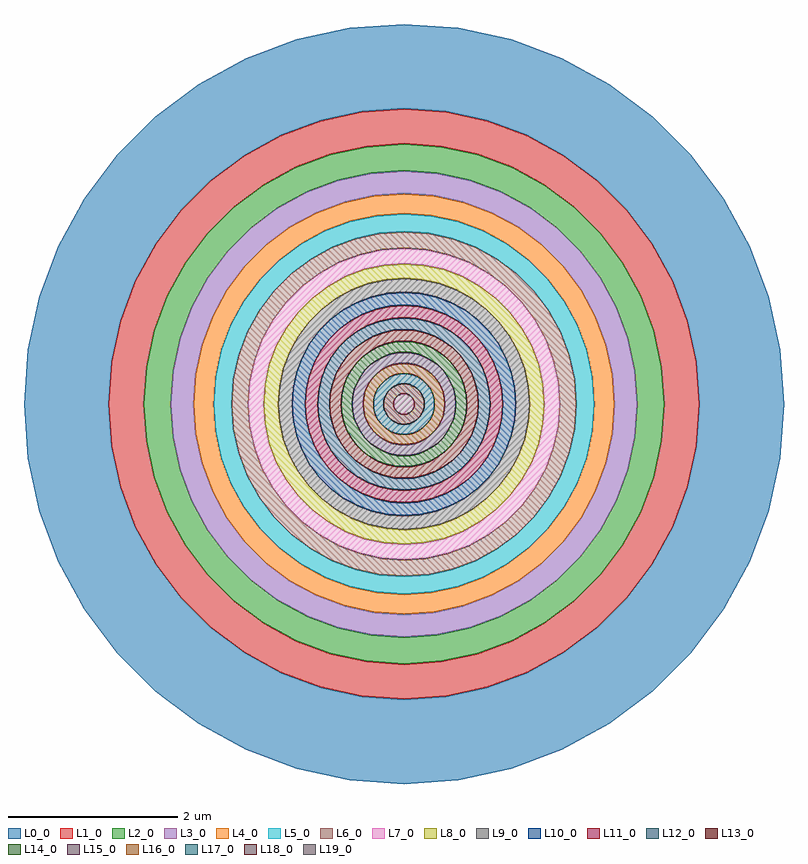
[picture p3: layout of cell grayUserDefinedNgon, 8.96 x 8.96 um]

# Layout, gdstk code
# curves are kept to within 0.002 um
import gdstk
lib = gdstk.Library(unit=1e-6, precision=1e-09)
def P(c, l, *ps):  # polygons
    for p in ps: c.add(gdstk.Polygon(p, *l))
L0_0 = (0, 0)
L1_0 = (1, 0)
L2_0 = (2, 0)
L3_0 = (3, 0)
L4_0 = (4, 0)
L5_0 = (5, 0)
L6_0 = (6, 0)
L7_0 = (7, 0)
L8_0 = (8, 0)
L9_0 = (9, 0)
L10_0 = (10, 0)
L11_0 = (11, 0)
L12_0 = (12, 0)
L13_0 = (13, 0)
L14_0 = (14, 0)
L15_0 = (15, 0)
L16_0 = (16, 0)
L17_0 = (17, 0)
L18_0 = (18, 0)
L19_0 = (19, 0)

grayuserdefinedngon = lib.new_cell('grayUserDefinedNgon')
P(grayuserdefinedngon, L0_0, [(0,-4.482),(-0.638,-4.437),(-1.263,-4.301),(-1.862,-4.077),(-2.423,-3.771),(-2.809,-3.482),(0,-3.482),(0.496,-3.447),(0.981,-3.341),(1.447,-3.167),(1.883,-2.929),(2.28,-2.632),(2.632,-2.28),(2.929,-1.883),(3.167,-1.447),(3.341,-0.981),(3.447,-0.496),(3.482,0),(3.447,0.496),(3.341,0.981),(3.167,1.447),(2.929,1.883),(2.632,2.28),(2.28,2.632),(1.883,2.929),(1.447,3.167),(0.981,3.341),(0.496,3.447),(0,3.482),(-0.496,3.447),(-0.981,3.341),(-1.447,3.167),(-1.883,2.929),(-2.28,2.632),(-2.632,2.28),(-2.929,1.883),(-3.167,1.447),(-3.341,0.981),(-3.447,0.496),(-3.482,0),(-3.447,-0.496),(-3.341,-0.981),(-3.167,-1.447),(-2.929,-1.883),(-2.632,-2.28),(-2.28,-2.632),(-1.883,-2.929),(-1.447,-3.167),(-0.981,-3.341),(-0.496,-3.447),(0,-3.482),(-2.809,-3.482),(-2.935,-3.387),(-3.387,-2.935),(-3.771,-2.423),(-4.077,-1.862),(-4.301,-1.263),(-4.437,-0.638),(-4.482,0),(-4.437,0.638),(-4.301,1.263),(-4.077,1.862),(-3.771,2.423),(-3.387,2.935),(-2.935,3.387),(-2.423,3.771),(-1.862,4.077),(-1.263,4.301),(-0.638,4.437),(0,4.482),(0.638,4.437),(1.263,4.301),(1.862,4.077),(2.423,3.771),(2.935,3.387),(3.387,2.935),(3.771,2.423),(4.077,1.862),(4.301,1.263),(4.437,0.638),(4.482,0),(4.437,-0.638),(4.301,-1.263),(4.077,-1.862),(3.771,-2.423),(3.387,-2.935),(2.935,-3.387),(2.423,-3.771),(1.862,-4.077),(1.263,-4.301),(0.638,-4.437)])
P(grayuserdefinedngon, L1_0, [(0,-3.482),(-0.496,-3.447),(-0.981,-3.341),(-1.447,-3.167),(-1.629,-3.068),(0,-3.068),(0.437,-3.037),(0.864,-2.944),(1.274,-2.791),(1.659,-2.581),(2.009,-2.319),(2.319,-2.009),(2.581,-1.659),(2.791,-1.274),(2.944,-0.864),(3.037,-0.437),(3.068,0),(3.037,0.437),(2.944,0.864),(2.791,1.274),(2.581,1.659),(2.319,2.009),(2.009,2.319),(1.659,2.581),(1.274,2.791),(0.864,2.944),(0.437,3.037),(0,3.068),(-0.437,3.037),(-0.864,2.944),(-1.274,2.791),(-1.659,2.581),(-2.009,2.319),(-2.319,2.009),(-2.581,1.659),(-2.791,1.274),(-2.944,0.864),(-3.037,0.437),(-3.068,0),(-3.037,-0.437),(-2.944,-0.864),(-2.791,-1.274),(-2.581,-1.659),(-2.319,-2.009),(-2.009,-2.319),(-1.659,-2.581),(-1.274,-2.791),(-0.864,-2.944),(-0.437,-3.037),(0,-3.068),(-1.629,-3.068),(-1.883,-2.929),(-2.28,-2.632),(-2.632,-2.28),(-2.929,-1.883),(-3.167,-1.447),(-3.341,-0.981),(-3.447,-0.496),(-3.482,0),(-3.447,0.496),(-3.341,0.981),(-3.167,1.447),(-2.929,1.883),(-2.632,2.28),(-2.28,2.632),(-1.883,2.929),(-1.447,3.167),(-0.981,3.341),(-0.496,3.447),(0,3.482),(0.496,3.447),(0.981,3.341),(1.447,3.167),(1.883,2.929),(2.28,2.632),(2.632,2.28),(2.929,1.883),(3.167,1.447),(3.341,0.981),(3.447,0.496),(3.482,0),(3.447,-0.496),(3.341,-0.981),(3.167,-1.447),(2.929,-1.883),(2.632,-2.28),(2.28,-2.632),(1.883,-2.929),(1.447,-3.167),(0.981,-3.341),(0.496,-3.447)])
P(grayuserdefinedngon, L2_0, [(0,-3.068),(-0.437,-3.037),(-0.864,-2.944),(-1.274,-2.791),(-1.349,-2.75),(0,-2.75),(0.391,-2.722),(0.775,-2.639),(1.142,-2.502),(1.487,-2.314),(1.801,-2.078),(2.078,-1.801),(2.314,-1.487),(2.502,-1.142),(2.639,-0.775),(2.722,-0.391),(2.75,0),(2.722,0.391),(2.639,0.775),(2.502,1.142),(2.314,1.487),(2.078,1.801),(1.801,2.078),(1.487,2.314),(1.142,2.502),(0.775,2.639),(0.391,2.722),(0,2.75),(-0.391,2.722),(-0.775,2.639),(-1.142,2.502),(-1.487,2.314),(-1.801,2.078),(-2.078,1.801),(-2.314,1.487),(-2.502,1.142),(-2.639,0.775),(-2.722,0.391),(-2.75,0),(-2.722,-0.391),(-2.639,-0.775),(-2.502,-1.142),(-2.314,-1.487),(-2.078,-1.801),(-1.801,-2.078),(-1.487,-2.314),(-1.142,-2.502),(-0.775,-2.639),(-0.391,-2.722),(0,-2.75),(-1.349,-2.75),(-1.659,-2.581),(-2.009,-2.319),(-2.319,-2.009),(-2.581,-1.659),(-2.791,-1.274),(-2.944,-0.864),(-3.037,-0.437),(-3.068,0),(-3.037,0.437),(-2.944,0.864),(-2.791,1.274),(-2.581,1.659),(-2.319,2.009),(-2.009,2.319),(-1.659,2.581),(-1.274,2.791),(-0.864,2.944),(-0.437,3.037),(0,3.068),(0.437,3.037),(0.864,2.944),(1.274,2.791),(1.659,2.581),(2.009,2.319),(2.319,2.009),(2.581,1.659),(2.791,1.274),(2.944,0.864),(3.037,0.437),(3.068,0),(3.037,-0.437),(2.944,-0.864),(2.791,-1.274),(2.581,-1.659),(2.319,-2.009),(2.009,-2.319),(1.659,-2.581),(1.274,-2.791),(0.864,-2.944),(0.437,-3.037)])
P(grayuserdefinedngon, L3_0, [(0,-2.75),(-0.391,-2.722),(-0.775,-2.639),(-1.142,-2.502),(-1.178,-2.482),(0,-2.482),(0.353,-2.457),(0.699,-2.382),(1.031,-2.258),(1.342,-2.088),(1.625,-1.876),(1.876,-1.625),(2.088,-1.342),(2.258,-1.031),(2.382,-0.699),(2.457,-0.353),(2.482,0),(2.457,0.353),(2.382,0.699),(2.258,1.031),(2.088,1.342),(1.876,1.625),(1.625,1.876),(1.342,2.088),(1.031,2.258),(0.699,2.382),(0.353,2.457),(0,2.482),(-0.353,2.457),(-0.699,2.382),(-1.031,2.258),(-1.342,2.088),(-1.625,1.876),(-1.876,1.625),(-2.088,1.342),(-2.258,1.031),(-2.382,0.699),(-2.457,0.353),(-2.482,0),(-2.457,-0.353),(-2.382,-0.699),(-2.258,-1.031),(-2.088,-1.342),(-1.876,-1.625),(-1.625,-1.876),(-1.342,-2.088),(-1.031,-2.258),(-0.699,-2.382),(-0.353,-2.457),(0,-2.482),(-1.178,-2.482),(-1.487,-2.314),(-1.801,-2.078),(-2.078,-1.801),(-2.314,-1.487),(-2.502,-1.142),(-2.639,-0.775),(-2.722,-0.391),(-2.75,0),(-2.722,0.391),(-2.639,0.775),(-2.502,1.142),(-2.314,1.487),(-2.078,1.801),(-1.801,2.078),(-1.487,2.314),(-1.142,2.502),(-0.775,2.639),(-0.391,2.722),(0,2.75),(0.391,2.722),(0.775,2.639),(1.142,2.502),(1.487,2.314),(1.801,2.078),(2.078,1.801),(2.314,1.487),(2.502,1.142),(2.639,0.775),(2.722,0.391),(2.75,0),(2.722,-0.391),(2.639,-0.775),(2.502,-1.142),(2.314,-1.487),(2.078,-1.801),(1.801,-2.078),(1.487,-2.314),(1.142,-2.502),(0.775,-2.639),(0.391,-2.722)])
P(grayuserdefinedngon, L4_0, [(0,-2.482),(-0.353,-2.457),(-0.699,-2.382),(-1.031,-2.258),(-1.053,-2.246),(0,-2.246),(0.32,-2.223),(0.633,-2.155),(0.933,-2.043),(1.214,-1.89),(1.471,-1.697),(1.697,-1.471),(1.89,-1.214),(2.043,-0.933),(2.155,-0.633),(2.223,-0.32),(2.246,0),(2.223,0.32),(2.155,0.633),(2.043,0.933),(1.89,1.214),(1.697,1.471),(1.471,1.697),(1.214,1.89),(0.933,2.043),(0.633,2.155),(0.32,2.223),(0,2.246),(-0.32,2.223),(-0.633,2.155),(-0.933,2.043),(-1.214,1.89),(-1.471,1.697),(-1.697,1.471),(-1.89,1.214),(-2.043,0.933),(-2.155,0.633),(-2.223,0.32),(-2.246,0),(-2.223,-0.32),(-2.155,-0.633),(-2.043,-0.933),(-1.89,-1.214),(-1.697,-1.471),(-1.471,-1.697),(-1.214,-1.89),(-0.933,-2.043),(-0.633,-2.155),(-0.32,-2.223),(0,-2.246),(-1.053,-2.246),(-1.342,-2.088),(-1.625,-1.876),(-1.876,-1.625),(-2.088,-1.342),(-2.258,-1.031),(-2.382,-0.699),(-2.457,-0.353),(-2.482,0),(-2.457,0.353),(-2.382,0.699),(-2.258,1.031),(-2.088,1.342),(-1.876,1.625),(-1.625,1.876),(-1.342,2.088),(-1.031,2.258),(-0.699,2.382),(-0.353,2.457),(0,2.482),(0.353,2.457),(0.699,2.382),(1.031,2.258),(1.342,2.088),(1.625,1.876),(1.876,1.625),(2.088,1.342),(2.258,1.031),(2.382,0.699),(2.457,0.353),(2.482,0),(2.457,-0.353),(2.382,-0.699),(2.258,-1.031),(2.088,-1.342),(1.876,-1.625),(1.625,-1.876),(1.342,-2.088),(1.031,-2.258),(0.699,-2.382),(0.353,-2.457)])
P(grayuserdefinedngon, L5_0, [(0,-2.246),(-0.32,-2.223),(-0.633,-2.155),(-0.933,-2.043),(-0.952,-2.033),(0,-2.033),(0.289,-2.012),(0.573,-1.95),(0.844,-1.849),(1.099,-1.71),(1.331,-1.536),(1.536,-1.331),(1.71,-1.099),(1.849,-0.844),(1.95,-0.573),(2.012,-0.289),(2.033,0),(2.012,0.289),(1.95,0.573),(1.849,0.844),(1.71,1.099),(1.536,1.331),(1.331,1.536),(1.099,1.71),(0.844,1.849),(0.573,1.95),(0.289,2.012),(0,2.033),(-0.289,2.012),(-0.573,1.95),(-0.844,1.849),(-1.099,1.71),(-1.331,1.536),(-1.536,1.331),(-1.71,1.099),(-1.849,0.844),(-1.95,0.573),(-2.012,0.289),(-2.033,0),(-2.012,-0.289),(-1.95,-0.573),(-1.849,-0.844),(-1.71,-1.099),(-1.536,-1.331),(-1.331,-1.536),(-1.099,-1.71),(-0.844,-1.849),(-0.573,-1.95),(-0.289,-2.012),(0,-2.033),(-0.952,-2.033),(-1.214,-1.89),(-1.471,-1.697),(-1.697,-1.471),(-1.89,-1.214),(-2.043,-0.933),(-2.155,-0.633),(-2.223,-0.32),(-2.246,0),(-2.223,0.32),(-2.155,0.633),(-2.043,0.933),(-1.89,1.214),(-1.697,1.471),(-1.471,1.697),(-1.214,1.89),(-0.933,2.043),(-0.633,2.155),(-0.32,2.223),(0,2.246),(0.32,2.223),(0.633,2.155),(0.933,2.043),(1.214,1.89),(1.471,1.697),(1.697,1.471),(1.89,1.214),(2.043,0.933),(2.155,0.633),(2.223,0.32),(2.246,0),(2.223,-0.32),(2.155,-0.633),(2.043,-0.933),(1.89,-1.214),(1.697,-1.471),(1.471,-1.697),(1.214,-1.89),(0.933,-2.043),(0.633,-2.155),(0.32,-2.223)])
P(grayuserdefinedngon, L6_0, [(0,-2.033),(-0.289,-2.012),(-0.573,-1.95),(-0.844,-1.849),(-0.867,-1.836),(0,-1.836),(0.261,-1.818),(0.517,-1.762),(0.763,-1.67),(0.993,-1.545),(1.203,-1.388),(1.388,-1.203),(1.545,-0.993),(1.67,-0.763),(1.762,-0.517),(1.818,-0.261),(1.836,0),(1.818,0.261),(1.762,0.517),(1.67,0.763),(1.545,0.993),(1.388,1.203),(1.203,1.388),(0.993,1.545),(0.763,1.67),(0.517,1.762),(0.261,1.818),(0,1.836),(-0.261,1.818),(-0.517,1.762),(-0.763,1.67),(-0.993,1.545),(-1.203,1.388),(-1.388,1.203),(-1.545,0.993),(-1.67,0.763),(-1.762,0.517),(-1.818,0.261),(-1.836,0),(-1.818,-0.261),(-1.762,-0.517),(-1.67,-0.763),(-1.545,-0.993),(-1.388,-1.203),(-1.203,-1.388),(-0.993,-1.545),(-0.763,-1.67),(-0.517,-1.762),(-0.261,-1.818),(0,-1.836),(-0.867,-1.836),(-1.099,-1.71),(-1.331,-1.536),(-1.536,-1.331),(-1.71,-1.099),(-1.849,-0.844),(-1.95,-0.573),(-2.012,-0.289),(-2.033,0),(-2.012,0.289),(-1.95,0.573),(-1.849,0.844),(-1.71,1.099),(-1.536,1.331),(-1.331,1.536),(-1.099,1.71),(-0.844,1.849),(-0.573,1.95),(-0.289,2.012),(0,2.033),(0.289,2.012),(0.573,1.95),(0.844,1.849),(1.099,1.71),(1.331,1.536),(1.536,1.331),(1.71,1.099),(1.849,0.844),(1.95,0.573),(2.012,0.289),(2.033,0),(2.012,-0.289),(1.95,-0.573),(1.849,-0.844),(1.71,-1.099),(1.536,-1.331),(1.331,-1.536),(1.099,-1.71),(0.844,-1.849),(0.573,-1.95),(0.289,-2.012)])
P(grayuserdefinedngon, L7_0, [(0,-1.836),(-0.261,-1.818),(-0.517,-1.762),(-0.763,-1.67),(-0.793,-1.654),(0,-1.654),(0.235,-1.637),(0.466,-1.587),(0.687,-1.504),(0.894,-1.391),(1.083,-1.25),(1.25,-1.083),(1.391,-0.894),(1.504,-0.687),(1.587,-0.466),(1.637,-0.235),(1.654,0),(1.637,0.235),(1.587,0.466),(1.504,0.687),(1.391,0.894),(1.25,1.083),(1.083,1.25),(0.894,1.391),(0.687,1.504),(0.466,1.587),(0.235,1.637),(0,1.654),(-0.235,1.637),(-0.466,1.587),(-0.687,1.504),(-0.894,1.391),(-1.083,1.25),(-1.25,1.083),(-1.391,0.894),(-1.504,0.687),(-1.587,0.466),(-1.637,0.235),(-1.654,0),(-1.637,-0.235),(-1.587,-0.466),(-1.504,-0.687),(-1.391,-0.894),(-1.25,-1.083),(-1.083,-1.25),(-0.894,-1.391),(-0.687,-1.504),(-0.466,-1.587),(-0.235,-1.637),(0,-1.654),(-0.793,-1.654),(-0.993,-1.545),(-1.203,-1.388),(-1.388,-1.203),(-1.545,-0.993),(-1.67,-0.763),(-1.762,-0.517),(-1.818,-0.261),(-1.836,0),(-1.818,0.261),(-1.762,0.517),(-1.67,0.763),(-1.545,0.993),(-1.388,1.203),(-1.203,1.388),(-0.993,1.545),(-0.763,1.67),(-0.517,1.762),(-0.261,1.818),(0,1.836),(0.261,1.818),(0.517,1.762),(0.763,1.67),(0.993,1.545),(1.203,1.388),(1.388,1.203),(1.545,0.993),(1.67,0.763),(1.762,0.517),(1.818,0.261),(1.836,0),(1.818,-0.261),(1.762,-0.517),(1.67,-0.763),(1.545,-0.993),(1.388,-1.203),(1.203,-1.388),(0.993,-1.545),(0.763,-1.67),(0.517,-1.762),(0.261,-1.818)])
P(grayuserdefinedngon, L8_0, [(0,-1.654),(-0.235,-1.637),(-0.466,-1.587),(-0.687,-1.504),(-0.728,-1.482),(0,-1.482),(0.211,-1.467),(0.418,-1.422),(0.616,-1.348),(0.801,-1.247),(0.971,-1.12),(1.12,-0.971),(1.247,-0.801),(1.348,-0.616),(1.422,-0.418),(1.467,-0.211),(1.482,0),(1.467,0.211),(1.422,0.418),(1.348,0.616),(1.247,0.801),(1.12,0.971),(0.971,1.12),(0.801,1.247),(0.616,1.348),(0.418,1.422),(0.211,1.467),(0,1.482),(-0.211,1.467),(-0.418,1.422),(-0.616,1.348),(-0.801,1.247),(-0.971,1.12),(-1.12,0.971),(-1.247,0.801),(-1.348,0.616),(-1.422,0.418),(-1.467,0.211),(-1.482,0),(-1.467,-0.211),(-1.422,-0.418),(-1.348,-0.616),(-1.247,-0.801),(-1.12,-0.971),(-0.971,-1.12),(-0.801,-1.247),(-0.616,-1.348),(-0.418,-1.422),(-0.211,-1.467),(0,-1.482),(-0.728,-1.482),(-0.894,-1.391),(-1.083,-1.25),(-1.25,-1.083),(-1.391,-0.894),(-1.504,-0.687),(-1.587,-0.466),(-1.637,-0.235),(-1.654,0),(-1.637,0.235),(-1.587,0.466),(-1.504,0.687),(-1.391,0.894),(-1.25,1.083),(-1.083,1.25),(-0.894,1.391),(-0.687,1.504),(-0.466,1.587),(-0.235,1.637),(0,1.654),(0.235,1.637),(0.466,1.587),(0.687,1.504),(0.894,1.391),(1.083,1.25),(1.25,1.083),(1.391,0.894),(1.504,0.687),(1.587,0.466),(1.637,0.235),(1.654,0),(1.637,-0.235),(1.587,-0.466),(1.504,-0.687),(1.391,-0.894),(1.25,-1.083),(1.083,-1.25),(0.894,-1.391),(0.687,-1.504),(0.466,-1.587),(0.235,-1.637)])
P(grayuserdefinedngon, L9_0, [(0,-1.482),(-0.211,-1.467),(-0.418,-1.422),(-0.616,-1.348),(-0.668,-1.32),(0,-1.32),(0.188,-1.306),(0.372,-1.266),(0.548,-1.201),(0.714,-1.11),(0.864,-0.997),(0.997,-0.864),(1.11,-0.714),(1.201,-0.548),(1.266,-0.372),(1.306,-0.188),(1.32,0),(1.306,0.188),(1.266,0.372),(1.201,0.548),(1.11,0.714),(0.997,0.864),(0.864,0.997),(0.714,1.11),(0.548,1.201),(0.372,1.266),(0.188,1.306),(0,1.32),(-0.188,1.306),(-0.372,1.266),(-0.548,1.201),(-0.714,1.11),(-0.864,0.997),(-0.997,0.864),(-1.11,0.714),(-1.201,0.548),(-1.266,0.372),(-1.306,0.188),(-1.32,0),(-1.306,-0.188),(-1.266,-0.372),(-1.201,-0.548),(-1.11,-0.714),(-0.997,-0.864),(-0.864,-0.997),(-0.714,-1.11),(-0.548,-1.201),(-0.372,-1.266),(-0.188,-1.306),(0,-1.32),(-0.668,-1.32),(-0.801,-1.247),(-0.971,-1.12),(-1.12,-0.971),(-1.247,-0.801),(-1.348,-0.616),(-1.422,-0.418),(-1.467,-0.211),(-1.482,0),(-1.467,0.211),(-1.422,0.418),(-1.348,0.616),(-1.247,0.801),(-1.12,0.971),(-0.971,1.12),(-0.801,1.247),(-0.616,1.348),(-0.418,1.422),(-0.211,1.467),(0,1.482),(0.211,1.467),(0.418,1.422),(0.616,1.348),(0.801,1.247),(0.971,1.12),(1.12,0.971),(1.247,0.801),(1.348,0.616),(1.422,0.418),(1.467,0.211),(1.482,0),(1.467,-0.211),(1.422,-0.418),(1.348,-0.616),(1.247,-0.801),(1.12,-0.971),(0.971,-1.12),(0.801,-1.247),(0.616,-1.348),(0.418,-1.422),(0.211,-1.467)])
P(grayuserdefinedngon, L10_0, [(0,-1.32),(-0.188,-1.306),(-0.372,-1.266),(-0.548,-1.201),(-0.613,-1.166),(0,-1.166),(0.166,-1.154),(0.328,-1.118),(0.484,-1.06),(0.63,-0.98),(0.763,-0.881),(0.881,-0.763),(0.98,-0.63),(1.06,-0.484),(1.118,-0.328),(1.154,-0.166),(1.166,0),(1.154,0.166),(1.118,0.328),(1.06,0.484),(0.98,0.63),(0.881,0.763),(0.763,0.881),(0.63,0.98),(0.484,1.06),(0.328,1.118),(0.166,1.154),(0,1.166),(-0.166,1.154),(-0.328,1.118),(-0.484,1.06),(-0.63,0.98),(-0.763,0.881),(-0.881,0.763),(-0.98,0.63),(-1.06,0.484),(-1.118,0.328),(-1.154,0.166),(-1.166,0),(-1.154,-0.166),(-1.118,-0.328),(-1.06,-0.484),(-0.98,-0.63),(-0.881,-0.763),(-0.763,-0.881),(-0.63,-0.98),(-0.484,-1.06),(-0.328,-1.118),(-0.166,-1.154),(0,-1.166),(-0.613,-1.166),(-0.714,-1.11),(-0.864,-0.997),(-0.997,-0.864),(-1.11,-0.714),(-1.201,-0.548),(-1.266,-0.372),(-1.306,-0.188),(-1.32,0),(-1.306,0.188),(-1.266,0.372),(-1.201,0.548),(-1.11,0.714),(-0.997,0.864),(-0.864,0.997),(-0.714,1.11),(-0.548,1.201),(-0.372,1.266),(-0.188,1.306),(0,1.32),(0.188,1.306),(0.372,1.266),(0.548,1.201),(0.714,1.11),(0.864,0.997),(0.997,0.864),(1.11,0.714),(1.201,0.548),(1.266,0.372),(1.306,0.188),(1.32,0),(1.306,-0.188),(1.266,-0.372),(1.201,-0.548),(1.11,-0.714),(0.997,-0.864),(0.864,-0.997),(0.714,-1.11),(0.548,-1.201),(0.372,-1.266),(0.188,-1.306)])
P(grayuserdefinedngon, L11_0, [(0,-1.166),(-0.166,-1.154),(-0.328,-1.118),(-0.484,-1.06),(-0.561,-1.018),(0,-1.018),(0.145,-1.008),(0.287,-0.977),(0.423,-0.926),(0.55,-0.856),(0.667,-0.769),(0.769,-0.667),(0.856,-0.55),(0.926,-0.423),(0.977,-0.287),(1.008,-0.145),(1.018,0),(1.008,0.145),(0.977,0.287),(0.926,0.423),(0.856,0.55),(0.769,0.667),(0.667,0.769),(0.55,0.856),(0.423,0.926),(0.287,0.977),(0.145,1.008),(0,1.018),(-0.145,1.008),(-0.287,0.977),(-0.423,0.926),(-0.55,0.856),(-0.667,0.769),(-0.769,0.667),(-0.856,0.55),(-0.926,0.423),(-0.977,0.287),(-1.008,0.145),(-1.018,0),(-1.008,-0.145),(-0.977,-0.287),(-0.926,-0.423),(-0.856,-0.55),(-0.769,-0.667),(-0.667,-0.769),(-0.55,-0.856),(-0.423,-0.926),(-0.287,-0.977),(-0.145,-1.008),(0,-1.018),(-0.561,-1.018),(-0.63,-0.98),(-0.763,-0.881),(-0.881,-0.763),(-0.98,-0.63),(-1.06,-0.484),(-1.118,-0.328),(-1.154,-0.166),(-1.166,0),(-1.154,0.166),(-1.118,0.328),(-1.06,0.484),(-0.98,0.63),(-0.881,0.763),(-0.763,0.881),(-0.63,0.98),(-0.484,1.06),(-0.328,1.118),(-0.166,1.154),(0,1.166),(0.166,1.154),(0.328,1.118),(0.484,1.06),(0.63,0.98),(0.763,0.881),(0.881,0.763),(0.98,0.63),(1.06,0.484),(1.118,0.328),(1.154,0.166),(1.166,0),(1.154,-0.166),(1.118,-0.328),(1.06,-0.484),(0.98,-0.63),(0.881,-0.763),(0.763,-0.881),(0.63,-0.98),(0.484,-1.06),(0.328,-1.118),(0.166,-1.154)])
P(grayuserdefinedngon, L12_0, [(0,-1.018),(-0.145,-1.008),(-0.287,-0.977),(-0.423,-0.926),(-0.513,-0.877),(0,-0.877),(0.125,-0.868),(0.247,-0.841),(0.364,-0.797),(0.474,-0.737),(0.574,-0.662),(0.662,-0.574),(0.737,-0.474),(0.797,-0.364),(0.841,-0.247),(0.868,-0.125),(0.877,0),(0.868,0.125),(0.841,0.247),(0.797,0.364),(0.737,0.474),(0.662,0.574),(0.574,0.662),(0.474,0.737),(0.364,0.797),(0.247,0.841),(0.125,0.868),(0,0.877),(-0.125,0.868),(-0.247,0.841),(-0.364,0.797),(-0.474,0.737),(-0.574,0.662),(-0.662,0.574),(-0.737,0.474),(-0.797,0.364),(-0.841,0.247),(-0.868,0.125),(-0.877,0),(-0.868,-0.125),(-0.841,-0.247),(-0.797,-0.364),(-0.737,-0.474),(-0.662,-0.574),(-0.574,-0.662),(-0.474,-0.737),(-0.364,-0.797),(-0.247,-0.841),(-0.125,-0.868),(0,-0.877),(-0.513,-0.877),(-0.55,-0.856),(-0.667,-0.769),(-0.769,-0.667),(-0.856,-0.55),(-0.926,-0.423),(-0.977,-0.287),(-1.008,-0.145),(-1.018,0),(-1.008,0.145),(-0.977,0.287),(-0.926,0.423),(-0.856,0.55),(-0.769,0.667),(-0.667,0.769),(-0.55,0.856),(-0.423,0.926),(-0.287,0.977),(-0.145,1.008),(0,1.018),(0.145,1.008),(0.287,0.977),(0.423,0.926),(0.55,0.856),(0.667,0.769),(0.769,0.667),(0.856,0.55),(0.926,0.423),(0.977,0.287),(1.008,0.145),(1.018,0),(1.008,-0.145),(0.977,-0.287),(0.926,-0.423),(0.856,-0.55),(0.769,-0.667),(0.667,-0.769),(0.55,-0.856),(0.423,-0.926),(0.287,-0.977),(0.145,-1.008)])
P(grayuserdefinedngon, L13_0, [(0,-0.877),(-0.125,-0.868),(-0.247,-0.841),(-0.364,-0.797),(-0.468,-0.74),(0,-0.74),(0.105,-0.733),(0.209,-0.71),(0.308,-0.674),(0.4,-0.623),(0.485,-0.56),(0.56,-0.485),(0.623,-0.4),(0.674,-0.308),(0.71,-0.209),(0.733,-0.105),(0.74,0),(0.733,0.105),(0.71,0.209),(0.674,0.308),(0.623,0.4),(0.56,0.485),(0.485,0.56),(0.4,0.623),(0.308,0.674),(0.209,0.71),(0.105,0.733),(0,0.74),(-0.105,0.733),(-0.209,0.71),(-0.308,0.674),(-0.4,0.623),(-0.485,0.56),(-0.56,0.485),(-0.623,0.4),(-0.674,0.308),(-0.71,0.209),(-0.733,0.105),(-0.74,0),(-0.733,-0.105),(-0.71,-0.209),(-0.674,-0.308),(-0.623,-0.4),(-0.56,-0.485),(-0.485,-0.56),(-0.4,-0.623),(-0.308,-0.674),(-0.209,-0.71),(-0.105,-0.733),(0,-0.74),(-0.468,-0.74),(-0.574,-0.662),(-0.662,-0.574),(-0.737,-0.474),(-0.797,-0.364),(-0.841,-0.247),(-0.868,-0.125),(-0.877,0),(-0.868,0.125),(-0.841,0.247),(-0.797,0.364),(-0.737,0.474),(-0.662,0.574),(-0.574,0.662),(-0.474,0.737),(-0.364,0.797),(-0.247,0.841),(-0.125,0.868),(0,0.877),(0.125,0.868),(0.247,0.841),(0.364,0.797),(0.474,0.737),(0.574,0.662),(0.662,0.574),(0.737,0.474),(0.797,0.364),(0.841,0.247),(0.868,0.125),(0.877,0),(0.868,-0.125),(0.841,-0.247),(0.797,-0.364),(0.737,-0.474),(0.662,-0.574),(0.574,-0.662),(0.474,-0.737),(0.364,-0.797),(0.247,-0.841),(0.125,-0.868)])
P(grayuserdefinedngon, L14_0, [(0,-0.74),(-0.105,-0.733),(-0.209,-0.71),(-0.308,-0.674),(-0.4,-0.623),(-0.419,-0.609),(0,-0.609),(0.087,-0.603),(0.172,-0.584),(0.253,-0.554),(0.329,-0.512),(0.399,-0.46),(0.46,-0.399),(0.512,-0.329),(0.554,-0.253),(0.584,-0.172),(0.603,-0.087),(0.609,0),(0.603,0.087),(0.584,0.172),(0.554,0.253),(0.512,0.329),(0.46,0.399),(0.399,0.46),(0.329,0.512),(0.253,0.554),(0.172,0.584),(0.087,0.603),(0,0.609),(-0.087,0.603),(-0.172,0.584),(-0.253,0.554),(-0.329,0.512),(-0.399,0.46),(-0.46,0.399),(-0.512,0.329),(-0.554,0.253),(-0.584,0.172),(-0.603,0.087),(-0.609,0),(-0.603,-0.087),(-0.584,-0.172),(-0.554,-0.253),(-0.512,-0.329),(-0.46,-0.399),(-0.399,-0.46),(-0.329,-0.512),(-0.253,-0.554),(-0.172,-0.584),(-0.087,-0.603),(0,-0.609),(-0.419,-0.609),(-0.485,-0.56),(-0.56,-0.485),(-0.623,-0.4),(-0.674,-0.308),(-0.71,-0.209),(-0.733,-0.105),(-0.74,0),(-0.733,0.105),(-0.71,0.209),(-0.674,0.308),(-0.623,0.4),(-0.56,0.485),(-0.485,0.56),(-0.4,0.623),(-0.308,0.674),(-0.209,0.71),(-0.105,0.733),(0,0.74),(0.105,0.733),(0.209,0.71),(0.308,0.674),(0.4,0.623),(0.485,0.56),(0.56,0.485),(0.623,0.4),(0.674,0.308),(0.71,0.209),(0.733,0.105),(0.74,0),(0.733,-0.105),(0.71,-0.209),(0.674,-0.308),(0.623,-0.4),(0.56,-0.485),(0.485,-0.56),(0.4,-0.623),(0.308,-0.674),(0.209,-0.71),(0.105,-0.733)])
P(grayuserdefinedngon, L15_0, [(0,-0.609),(-0.087,-0.603),(-0.172,-0.584),(-0.253,-0.554),(-0.329,-0.512),(-0.37,-0.482),(0,-0.482),(0.069,-0.477),(0.136,-0.463),(0.2,-0.439),(0.261,-0.406),(0.316,-0.364),(0.364,-0.316),(0.406,-0.261),(0.439,-0.2),(0.463,-0.136),(0.477,-0.069),(0.482,0),(0.477,0.069),(0.463,0.136),(0.439,0.2),(0.406,0.261),(0.364,0.316),(0.316,0.364),(0.261,0.406),(0.2,0.439),(0.136,0.463),(0.069,0.477),(0,0.482),(-0.069,0.477),(-0.136,0.463),(-0.2,0.439),(-0.261,0.406),(-0.316,0.364),(-0.364,0.316),(-0.406,0.261),(-0.439,0.2),(-0.463,0.136),(-0.477,0.069),(-0.482,0),(-0.477,-0.069),(-0.463,-0.136),(-0.439,-0.2),(-0.406,-0.261),(-0.364,-0.316),(-0.316,-0.364),(-0.261,-0.406),(-0.2,-0.439),(-0.136,-0.463),(-0.069,-0.477),(0,-0.482),(-0.37,-0.482),(-0.399,-0.46),(-0.46,-0.399),(-0.512,-0.329),(-0.554,-0.253),(-0.584,-0.172),(-0.603,-0.087),(-0.609,0),(-0.603,0.087),(-0.584,0.172),(-0.554,0.253),(-0.512,0.329),(-0.46,0.399),(-0.399,0.46),(-0.329,0.512),(-0.253,0.554),(-0.172,0.584),(-0.087,0.603),(0,0.609),(0.087,0.603),(0.172,0.584),(0.253,0.554),(0.329,0.512),(0.399,0.46),(0.46,0.399),(0.512,0.329),(0.554,0.253),(0.584,0.172),(0.603,0.087),(0.609,0),(0.603,-0.087),(0.584,-0.172),(0.554,-0.253),(0.512,-0.329),(0.46,-0.399),(0.399,-0.46),(0.329,-0.512),(0.253,-0.554),(0.172,-0.584),(0.087,-0.603)])
P(grayuserdefinedngon, L16_0, [(0,-0.482),(-0.069,-0.477),(-0.136,-0.463),(-0.2,-0.439),(-0.261,-0.406),(-0.321,-0.359),(0,-0.359),(0.051,-0.355),(0.101,-0.344),(0.149,-0.327),(0.194,-0.302),(0.235,-0.271),(0.271,-0.235),(0.302,-0.194),(0.327,-0.149),(0.344,-0.101),(0.355,-0.051),(0.359,0),(0.355,0.051),(0.344,0.101),(0.327,0.149),(0.302,0.194),(0.271,0.235),(0.235,0.271),(0.194,0.302),(0.149,0.327),(0.101,0.344),(0.051,0.355),(0,0.359),(-0.051,0.355),(-0.101,0.344),(-0.149,0.327),(-0.194,0.302),(-0.235,0.271),(-0.271,0.235),(-0.302,0.194),(-0.327,0.149),(-0.344,0.101),(-0.355,0.051),(-0.359,0),(-0.355,-0.051),(-0.344,-0.101),(-0.327,-0.149),(-0.302,-0.194),(-0.271,-0.235),(-0.235,-0.271),(-0.194,-0.302),(-0.149,-0.327),(-0.101,-0.344),(-0.051,-0.355),(0,-0.359),(-0.321,-0.359),(-0.364,-0.316),(-0.406,-0.261),(-0.439,-0.2),(-0.463,-0.136),(-0.477,-0.069),(-0.482,0),(-0.477,0.069),(-0.463,0.136),(-0.439,0.2),(-0.406,0.261),(-0.364,0.316),(-0.316,0.364),(-0.261,0.406),(-0.2,0.439),(-0.136,0.463),(-0.069,0.477),(0,0.482),(0.069,0.477),(0.136,0.463),(0.2,0.439),(0.261,0.406),(0.316,0.364),(0.364,0.316),(0.406,0.261),(0.439,0.2),(0.463,0.136),(0.477,0.069),(0.482,0),(0.477,-0.069),(0.463,-0.136),(0.439,-0.2),(0.406,-0.261),(0.364,-0.316),(0.316,-0.364),(0.261,-0.406),(0.2,-0.439),(0.136,-0.463),(0.069,-0.477)])
P(grayuserdefinedngon, L17_0, [(0,-0.359),(-0.051,-0.355),(-0.101,-0.344),(-0.149,-0.327),(-0.194,-0.302),(-0.235,-0.271),(-0.267,-0.239),(0.034,-0.237),(0.067,-0.23),(0.099,-0.218),(0.157,-0.181),(0.181,-0.157),(0.218,-0.099),(0.23,-0.067),(0.237,-0.034),(0.237,0.034),(0.23,0.067),(0.218,0.099),(0.181,0.157),(0.157,0.181),(0.129,0.201),(0.099,0.218),(0.067,0.23),(0.034,0.237),(-0.034,0.237),(-0.067,0.23),(-0.099,0.218),(-0.157,0.181),(-0.181,0.157),(-0.218,0.099),(-0.23,0.067),(-0.237,0.034),(-0.237,-0.034),(-0.23,-0.067),(-0.218,-0.099),(-0.201,-0.129),(-0.181,-0.157),(-0.157,-0.181),(-0.099,-0.218),(-0.067,-0.23),(-0.034,-0.237),(0,-0.239),(-0.267,-0.239),(-0.302,-0.194),(-0.327,-0.149),(-0.344,-0.101),(-0.355,-0.051),(-0.359,0),(-0.355,0.051),(-0.344,0.101),(-0.327,0.149),(-0.302,0.194),(-0.271,0.235),(-0.235,0.271),(-0.194,0.302),(-0.149,0.327),(-0.101,0.344),(-0.051,0.355),(0,0.359),(0.051,0.355),(0.101,0.344),(0.149,0.327),(0.194,0.302),(0.235,0.271),(0.271,0.235),(0.302,0.194),(0.327,0.149),(0.344,0.101),(0.355,0.051),(0.359,0),(0.355,-0.051),(0.344,-0.101),(0.327,-0.149),(0.302,-0.194),(0.271,-0.235),(0.235,-0.271),(0.194,-0.302),(0.149,-0.327),(0.101,-0.344),(0.051,-0.355)])
P(grayuserdefinedngon, L18_0, [(0,-0.239),(-0.034,-0.237),(-0.067,-0.23),(-0.099,-0.218),(-0.157,-0.181),(-0.181,-0.157),(-0.205,-0.123),(0.018,-0.122),(0.035,-0.118),(0.067,-0.104),(0.081,-0.093),(0.104,-0.067),(0.118,-0.035),(0.122,-0.018),(0.122,0.018),(0.118,0.035),(0.104,0.067),(0.093,0.081),(0.067,0.104),(0.035,0.118),(0.018,0.122),(-0.018,0.122),(-0.035,0.118),(-0.067,0.104),(-0.093,0.081),(-0.112,0.051),(-0.122,0.018),(-0.122,-0.018),(-0.118,-0.035),(-0.104,-0.067),(-0.093,-0.081),(-0.067,-0.104),(-0.035,-0.118),(0,-0.123),(-0.205,-0.123),(-0.218,-0.099),(-0.23,-0.067),(-0.237,-0.034),(-0.239,0),(-0.237,0.034),(-0.23,0.067),(-0.218,0.099),(-0.181,0.157),(-0.157,0.181),(-0.099,0.218),(-0.067,0.23),(-0.034,0.237),(0,0.239),(0.034,0.237),(0.067,0.23),(0.099,0.218),(0.157,0.181),(0.181,0.157),(0.218,0.099),(0.23,0.067),(0.237,0.034),(0.239,0),(0.237,-0.034),(0.23,-0.067),(0.218,-0.099),(0.181,-0.157),(0.157,-0.181),(0.099,-0.218),(0.067,-0.23),(0.034,-0.237)])
P(grayuserdefinedngon, L19_0, [(0,-0.123),(-0.035,-0.118),(-0.067,-0.104),(-0.081,-0.093),(-0.104,-0.067),(-0.112,-0.051),(-0.122,-0.018),(-0.123,0),(-0.118,0.035),(-0.104,0.067),(-0.093,0.081),(-0.067,0.104),(-0.051,0.112),(-0.018,0.122),(0,0.123),(0.035,0.118),(0.067,0.104),(0.081,0.093),(0.104,0.067),(0.112,0.051),(0.122,0.018),(0.123,0),(0.118,-0.035),(0.104,-0.067),(0.093,-0.081),(0.067,-0.104),(0.051,-0.112),(0.018,-0.122)])

lib.write_gds('grayUserDefinedNgon.gds')
